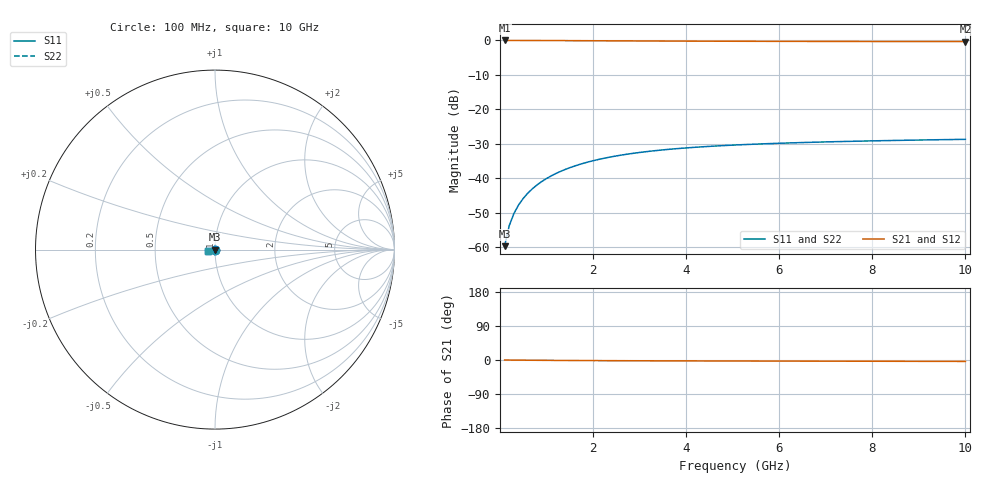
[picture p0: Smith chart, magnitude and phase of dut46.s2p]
! Touchstone file exported from HFSS 2024.1.0
!  File:  C:/UserFiles/LocalFiles/RDL_TSV_Batchsim/temp_TSV1_46_1778748425.aedt
!  Generated:  04:50:56 PM May 14, 2026
!  Design:  TSV1
!  Project:  temp_TSV1_46_1778748425
!  Setup:  Setup1
!  Solution:  Sweep
! Variables:
!  dtsv = 12.12um
!  hbump = 3um
!  htsv = 55.3um
!  lrdl = 252.1521522um
!  p = 40
!  p1 = 49.42um
!  t = 500um
!  trdl = 3um
!  wrdl = 24.89489489um
# GHz S MA R 50.000000
! Terminal data exported
! Port[1] = TSV22_T1
! Port[2] = TSV22_T2
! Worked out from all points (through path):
!   100 points, 100 MHz to 10 GHz, reference 50 ohm
!   highest |S21| = 0.00 dB at 100 MHz (marker M1); lowest = -0.3 dB at 10 GHz (marker M2)
!   lowest |S11| = -59.8 dB at 100 MHz (marker M3), VSWR 1.00, Z = 50 - j0.103 ohm
!   |S11| at or under -10 dB: start of sweep to end of sweep
!   |S22| runs from -59.8 to -28.7 dB; largest |S21 - S12| = 2e-15
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0.1  0.001026 -87.3  0.9999 -0.1  0.9999 -0.1  0.001026 -87.3
! Gamma 0 0 0 0
! Port Impedance 50 0 50 0
0.2  0.002045 -91.3  0.9998 -0.2  0.9998 -0.2  0.002045 -91.3
0.3  0.003061 -93.8  0.9996 -0.3  0.9996 -0.3  0.003061 -93.8
0.4  0.00407 -95.9  0.9994 -0.4  0.9994 -0.4  0.00407 -95.9
0.5  0.005069 -97.8  0.9991 -0.5  0.9991 -0.5  0.005069 -97.8
0.6  0.006057 -99.6  0.9987 -0.6  0.9987 -0.6  0.006057 -99.6
0.7  0.007032 -101.4  0.9983 -0.6  0.9983 -0.6  0.007032 -101.4
0.8  0.007992 -103.2  0.9979 -0.7  0.9979 -0.7  0.007992 -103.2
0.9  0.008934 -104.9  0.9974 -0.8  0.9974 -0.8  0.008934 -104.9
1.1  0.01076 -108.2  0.9963 -1.0  0.9963 -1.0  0.01076 -108.2
1.4  0.01335 -113.0  0.9944 -1.2  0.9944 -1.2  0.01335 -113.0
1.6  0.01495 -116.0  0.9931 -1.3  0.9931 -1.3  0.01495 -116.0
1.8  0.01646 -118.8  0.9917 -1.5  0.9917 -1.5  0.01646 -118.8
2.1  0.01855 -122.9  0.9896 -1.6  0.9896 -1.6  0.01855 -122.9
2.5  0.021 -127.8  0.9869 -1.8  0.9869 -1.8  0.021 -127.8
2.9  0.0231 -132.3  0.9842 -2.0  0.9842 -2.0  0.0231 -132.3
3.4  0.02531 -137.3  0.9812 -2.2  0.9812 -2.2  0.02531 -137.3
4.2  0.02807 -144.1  0.977 -2.4  0.977 -2.4  0.02807 -144.1
5.1  0.03036 -150.3  0.9733 -2.6  0.9733 -2.6  0.03036 -150.3
6.7  0.03316 -159.0  0.9684 -3.0  0.9684 -3.0  0.03316 -159.0
8.4  0.03517 -166.3  0.9651 -3.4  0.9651 -3.4  0.03517 -166.3
10  0.03659 -172.1  0.9628 -3.7  0.9628 -3.7  0.03659 -172.1
